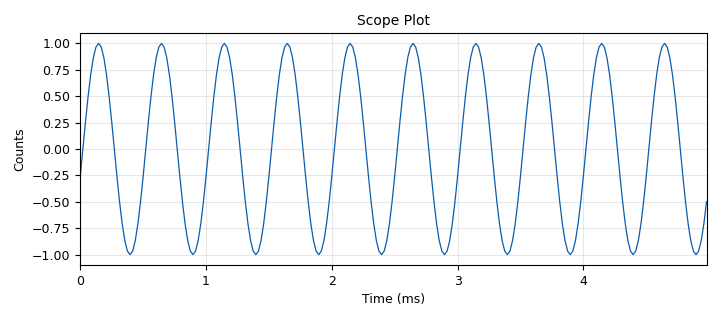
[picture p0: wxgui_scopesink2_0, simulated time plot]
<?xml version='1.0' encoding='utf-8'?>
<?grc format='1' created='3.7.10'?>
<flow_graph>
<block>
<key>options</key>
<param><key>id</key><value>Tone_Generator</value></param>
<param><key>generate_options</key><value>wx_gui</value></param>
</block>
<block>
<key>variable_slider</key>
<param><key>id</key><value>freq</value></param>
<param><key>converver</key><value>float_converter</value></param>
<param><key>value</key><value>2e3</value></param>
<param><key>label</key><value>Frequency</value></param>
<param><key>max</key><value>22e3</value></param>
<param><key>min</key><value>0</value></param>
<param><key>num_steps</key><value>100</value></param>
<param><key>style</key><value>wx.SL_HORIZONTAL</value></param>
</block>
<block>
<key>variable</key>
<param><key>id</key><value>samp_rate</value></param>
<param><key>value</key><value>48000</value></param>
</block>
<block>
<key>analog_sig_source_x</key>
<param><key>id</key><value>analog_sig_source_x_0</value></param>
<param><key>amp</key><value>1</value></param>
<param><key>freq</key><value>freq</value></param>
<param><key>offset</key><value>0</value></param>
<param><key>type</key><value>float</value></param>
<param><key>samp_rate</key><value>samp_rate</value></param>
<param><key>waveform</key><value>analog.GR_COS_WAVE</value></param>
</block>
<block>
<key>audio_sink</key>
<param><key>id</key><value>audio_sink_0</value></param>
<param><key>samp_rate</key><value>samp_rate</value></param>
</block>
<block>
<key>blocks_throttle</key>
<param><key>id</key><value>blocks_throttle_0</value></param>
<param><key>samples_per_second</key><value>samp_rate</value></param>
<param><key>type</key><value>float</value></param>
</block>
<block>
<key>wxgui_scopesink2</key>
<param><key>id</key><value>wxgui_scopesink2_0</value></param>
<param><key>ac_couple</key><value>False</value></param>
<param><key>num_inputs</key><value>1</value></param>
<param><key>samp_rate</key><value>samp_rate</value></param>
<param><key>t_scale</key><value>5e-4</value></param>
<param><key>title</key><value>Scope Plot</value></param>
<param><key>trig_mode</key><value>wxgui.TRIG_MODE_AUTO</value></param>
<param><key>type</key><value>float</value></param>
<param><key>v_offset</key><value>0</value></param>
<param><key>v_scale</key><value>0</value></param>
<param><key>xy_mode</key><value>False</value></param>
<param><key>y_axis_label</key><value>Counts</value></param>
</block>
<connection><source_block_id>analog_sig_source_x_0</source_block_id><sink_block_id>blocks_throttle_0</sink_block_id><source_key>0</source_key><sink_key>0</sink_key></connection>
<connection><source_block_id>blocks_throttle_0</source_block_id><sink_block_id>audio_sink_0</sink_block_id><source_key>0</source_key><sink_key>0</sink_key></connection>
<connection><source_block_id>blocks_throttle_0</source_block_id><sink_block_id>wxgui_scopesink2_0</sink_block_id><source_key>0</source_key><sink_key>0</sink_key></connection>
</flow_graph>
